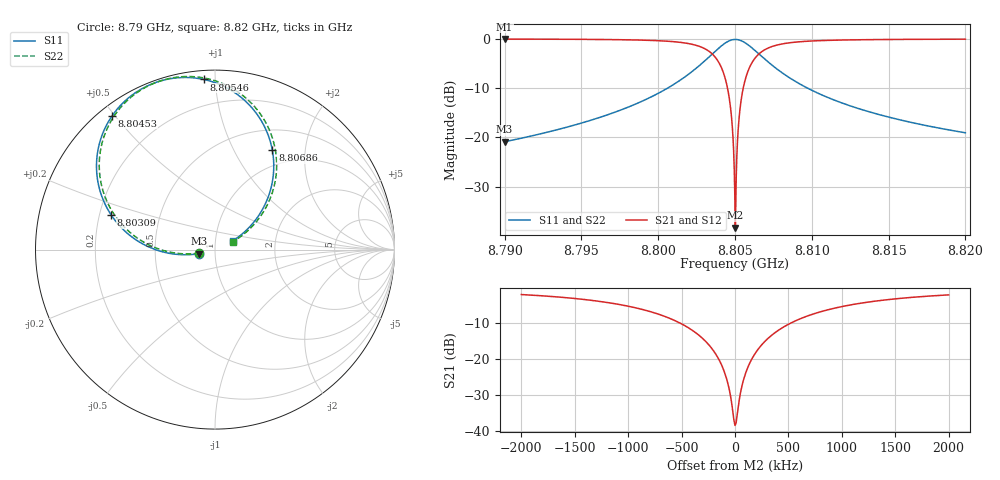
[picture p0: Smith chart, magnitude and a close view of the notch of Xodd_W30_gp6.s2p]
! Sonnet Data File
! From: emgraph Version : 16.52
! From Project: Qubit_Xmon2
! Data is De-embedded
! Data File Written: 10/18/2017 13:35:04
!< HDATE 10/18/2017 12:09:35
!< MDATE 10/18/2017 12:09:35
!< PARAMS
!< Lj = 11.0
!< Gap = 6.0
!< Pwid = 2000.0
!< Airgap = 18.0
!< Width = 30.0
!< END PARAMS
# GHZ S MA R 41.17000
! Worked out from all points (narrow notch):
!   3001 points, 8.79 GHz to 8.82 GHz, reference 41.17 ohm
!   highest |S21| = -0.04 dB at 8.79 GHz (marker M1); lowest = -38.4 dB at 8.80502 GHz (marker M2)
!   notch at M2: 38.2 dB deep, 334 kHz wide at half that depth
!   lowest |S11| = -20.9 dB at 8.79 GHz (marker M3), VSWR 1.20, Z = 34.5 - j1.55 ohm
!   |S11| at or under -10 dB: start of sweep to 8.800613 GHz; 8.80972 GHz to end of sweep
!   |S22| runs from -20.9 to -0.1 dB; largest |S21 - S12| = 0
!   S11 on the Smith chart (normalised r, x): 8.79 GHz: 0.84, -0.04; 8.80309 GHz: 0.25, +0.15; 8.80453 GHz: 0.04, +0.49; 8.80546 GHz: 0.05, +0.93; 8.80686 GHz: 0.77, +1.44; 8.82 GHz: 1.21, +0.12
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8.79  0.0901 -165.7  0.9958 -76.3  0.9958 -76.3  0.0901 -167.1
!< P1 F=8.79 Eeff=(4.89767601 -6.0965e-5) Z0=(41.1732234 -1.5591e-4) R=0.0 C=0.0
!< P2 F=8.79 Eeff=(4.89767601 -6.0965e-5) Z0=(41.1732234 -1.5591e-4) R=0.0 C=0.0
8.795  0.1395 -168.5  0.9899 -79.2  0.9899 -79.2  0.1395 -170.1
8.8  0.2798 -176.8  0.959 -87.5  0.959 -87.5  0.2798 -178.6
8.80191  0.4297 173.9  0.9003 -96.7  0.9003 -96.7  0.4297 172.1
8.80309  0.6098 161.6  0.7866 -108.8  0.7866 -108.8  0.6098 159.7
8.80398  0.8157 144.0  0.564 -125.9  0.564 -125.9  0.8157 142.1
8.80453  0.9406 127.5  0.3061 -141.3  0.3061 -141.3  0.9406 125.6
8.80475  0.9728 119.8  0.175 -147.3  0.175 -147.3  0.9728 117.8
8.80482  0.9795 117.2  0.1311 -148.5  0.1311 -148.5  0.9795 115.3
8.80492  0.9858 113.5  0.06736 -147.2  0.06736 -147.2  0.9858 111.6
8.805  0.9879 110.5  0.01869 -120.5  0.01869 -120.5  0.9879 108.6
8.80502  0.988 109.8  0.01208 -77.4  0.01208 -77.4  0.988 107.9
8.80511  0.9864 106.4  0.05837 3.6  0.05837 3.6  0.9864 104.5
8.80527  0.9755 100.5  0.1595 5.3  0.1595 5.3  0.9754 98.6
8.80546  0.9504 93.8  0.2736 0.5  0.2736 0.5  0.9504 91.9
8.80569  0.9068 86.3  0.3973 -6.2  0.3973 -6.2  0.9068 84.4
8.80599  0.8377 77.7  0.5306 -14.4  0.5306 -14.4  0.8376 75.7
8.80686  0.6385 60.0  0.7633 -31.6  0.7633 -31.6  0.6385 58.0
8.80816  0.4422 46.3  0.8944 -45.0  0.8944 -45.0  0.4422 44.3
8.81  0.3006 37.4  0.9527 -53.8  0.9527 -53.8  0.3006 35.4
8.815  0.1606 29.1  0.9867 -62.1  0.9867 -62.1  0.1606 26.9
8.82  0.1112 26.2  0.9937 -65.0  0.9937 -65.0  0.1112 23.9
